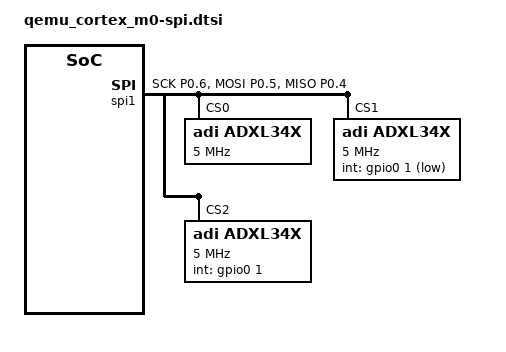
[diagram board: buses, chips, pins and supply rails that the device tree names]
/*
 * Copyright (c) 2024 Chaim Zax
 * SPDX-License-Identifier: Apache-2.0
 */

&pinctrl {
	spi1_default: spi1_default {
		group1 {
			psels = <NRF_PSEL(SPIM_SCK, 0, 6)>,
				<NRF_PSEL(SPIM_MOSI, 0, 5)>,
				<NRF_PSEL(SPIM_MISO, 0, 4)>;
		};
	};

	spi1_sleep: spi1_sleep {
		group1 {
			psels = <NRF_PSEL(SPIM_SCK, 0, 6)>,
				<NRF_PSEL(SPIM_MOSI, 0, 5)>,
				<NRF_PSEL(SPIM_MISO, 0, 4)>;
			low-power-enable;
		};
	};
};

&spi1 {
	status = "okay";
	pinctrl-0 = <&spi1_default>;
	pinctrl-1 = <&spi1_sleep>;
	pinctrl-names = "default", "sleep";

	adxl34x@0 {
		compatible = "adi,adxl34x";
		reg = <0>;
		spi-max-frequency = <5000000>;
		status = "okay";
	};

	adxl34x@1 {
		compatible = "adi,adxl34x";
		reg = <1>;
		spi-max-frequency = <5000000>;
		int-gpios = <&gpio0 1 GPIO_ACTIVE_LOW>;
		int-pin = <1>;
		packet-size = <16>;
		accel-frequency = "100";
		accel-range = <2>;
		status = "okay";
	};

	adxl34x@2 {
		compatible = "adi,adxl34x";
		reg = <2>;
		spi-max-frequency = <5000000>;
		int-gpios = <&gpio0 1 GPIO_ACTIVE_HIGH>;
		int-pin = <2>;
		packet-size = <31>;
		accel-frequency = "3200";
		accel-range = <16>;
		status = "okay";
	};
};
